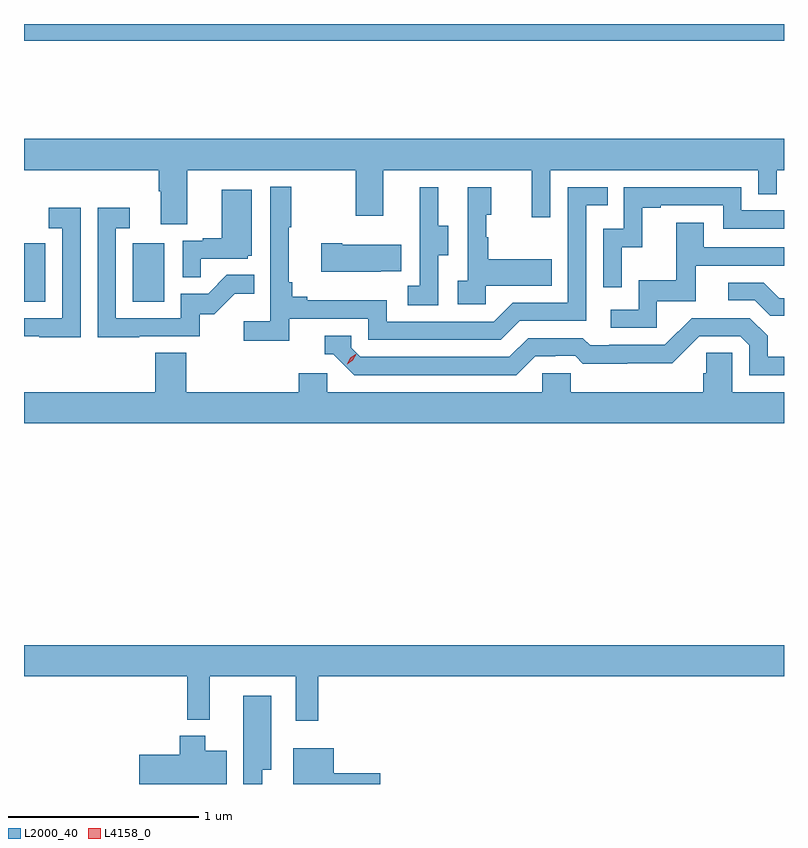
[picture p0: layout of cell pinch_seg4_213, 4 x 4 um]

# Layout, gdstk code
import gdstk
lib = gdstk.Library(unit=1e-6, precision=1e-09)
def R(c, l, rs):  # rectangles x0, y0, x1, y1
    for r in rs: c.add(gdstk.rectangle(r[:2], r[2:], *l))
def P(c, l, *ps):  # polygons
    for p in ps: c.add(gdstk.Polygon(p, *l))
L2000_40 = (2000, 40)
L4158_0 = (4158, 0)

pinch_seg4_213 = lib.new_cell('pinch_seg4_213')
R(pinch_seg4_213, L2000_40, [(986.591,826.764,986.704,827.071), (987.164,826.764,987.328,827.071), (986.591,828.136,990.591,828.225)])
P(pinch_seg4_213, L2000_40, [(987.451,827.456),(988.336,827.456),(988.336,827.217),(988.483,827.217),(988.483,827.456),(989.264,827.456),(989.264,827.208),(989.361,827.208),(989.361,827.456),(990.456,827.456),(990.456,827.329),(990.552,827.329),(990.552,827.456),(990.591,827.456),(990.591,827.62),(986.591,827.62),(986.591,827.456),(987.299,827.456),(987.299,827.344),(987.311,827.344),(987.311,827.17),(987.451,827.17)],
  [(987.986,826.674),(988.404,826.674),(988.404,826.563),(989.101,826.563),(989.2,826.662),(989.55,826.662),(989.55,827.271),(989.663,827.271),(989.663,827.367),(989.454,827.367),(989.454,826.758),(989.163,826.758),(989.064,826.659),(988.5,826.659),(988.5,826.771),(988.081,826.771),(988.081,826.79),(988.004,826.79),(988.004,826.867),(987.985,826.867),(987.985,827.155),(987.997,827.155),(987.997,827.368),(987.888,827.368),(987.888,826.66),(987.747,826.66),(987.747,826.558),(987.986,826.558)],
  [(989.736,827.051),(989.846,827.051),(989.846,827.259),(989.941,827.259),(989.941,827.271),(990.27,827.271),(990.27,827.148),(990.591,827.148),(990.591,827.244),(990.366,827.244),(990.366,827.367),(989.748,827.367),(989.748,827.148),(989.64,827.148),(989.64,826.839),(989.736,826.839)],
  [(989.022,826.847),(989.369,826.847),(989.369,826.987),(989.035,826.987),(989.035,827.102),(989.025,827.102),(989.025,827.22),(989.05,827.22),(989.05,827.365),(988.926,827.365),(988.926,826.874),(988.875,826.874),(988.875,826.749),(989.022,826.749)],
  [(988.77,827.008),(988.825,827.008),(988.825,827.163),(988.771,827.163),(988.771,827.365),(988.673,827.365),(988.673,827.151),(988.674,827.151),(988.674,826.847),(988.611,826.847),(988.611,826.744),(988.77,826.744)],
  [(987.521,826.989),(987.768,826.989),(987.768,827.004),(987.79,827.004),(987.79,827.353),(987.632,827.353),(987.632,827.098),(987.533,827.098),(987.533,827.085),(987.426,827.085),(987.426,826.891),(987.521,826.891)],
  [(987.197,826.581),(987.516,826.581),(987.516,826.698),(987.592,826.698),(987.699,826.805),(987.803,826.805),(987.803,826.904),(987.659,826.904),(987.561,826.806),(987.417,826.806),(987.417,826.677),(987.075,826.677),(987.075,827.151),(987.148,827.151),(987.148,827.257),(986.979,827.257),(986.979,826.576),(987.197,826.576)],
  [(986.889,827.257),(986.721,827.257),(986.721,827.151),(986.793,827.151),(986.793,826.677),(986.591,826.677),(986.591,826.581),(986.671,826.581),(986.671,826.576),(986.889,826.576)],
  [(989.922,826.767),(990.127,826.767),(990.127,826.953),(990.591,826.953),(990.591,827.049),(990.169,827.049),(990.169,827.179),(990.025,827.179),(990.025,826.876),(989.826,826.876),(989.826,826.722),(989.679,826.722),(989.679,826.626),(989.922,826.626)],
  [(988.469,826.925),(988.577,826.925),(988.577,827.062),(988.267,827.062),(988.267,827.07),(988.155,827.07),(988.155,826.922),(988.469,826.922)],
  [(990.591,826.782),(990.565,826.782),(990.484,826.863),(990.297,826.863),(990.297,826.77),(990.438,826.77),(990.518,826.69),(990.591,826.69)],
  [(989.281,826.476),(989.388,826.476),(989.388,826.479),(989.491,826.479),(989.533,826.437),(989.766,826.437),(989.766,826.439),(990.002,826.439),(990.144,826.581),(990.36,826.581),(990.408,826.533),(990.408,826.377),(990.591,826.377),(990.591,826.473),(990.505,826.473),(990.505,826.583),(990.411,826.677),(990.105,826.677),(989.964,826.536),(989.671,826.536),(989.671,826.533),(989.572,826.533),(989.533,826.572),(989.244,826.572),(989.145,826.473),(988.362,826.473),(988.314,826.521),(988.314,826.584),(988.175,826.584),(988.175,826.488),(988.218,826.488),(988.329,826.377),(989.182,826.377)],
  [(990.591,826.288),(990.318,826.288),(990.318,826.496),(990.181,826.496),(990.181,826.386),(990.167,826.386),(990.167,826.288),(989.469,826.288),(989.469,826.386),(989.319,826.386),(989.319,826.288),(988.188,826.288),(988.188,826.386),(988.037,826.386),(988.037,826.288),(987.446,826.288),(987.446,826.496),(987.281,826.496),(987.281,826.288),(986.591,826.288),(986.591,826.124),(990.591,826.124)],
  [(988.139,824.792),(990.591,824.792),(990.591,824.956),(986.591,824.956),(986.591,824.792),(987.451,824.792),(987.451,824.564),(987.568,824.564),(987.568,824.792),(988.022,824.792),(988.022,824.559),(988.139,824.559)],
  [(987.844,824.3),(987.892,824.3),(987.892,824.689),(987.746,824.689),(987.746,824.225),(987.844,824.225)],
  [(987.658,824.401),(987.544,824.401),(987.544,824.479),(987.41,824.479),(987.41,824.379),(987.198,824.379),(987.198,824.225),(987.658,824.225)],
  [(988.465,824.282),(988.222,824.282),(988.222,824.413),(988.007,824.413),(988.007,824.225),(988.465,824.225)])
P(pinch_seg4_213, L4158_0, [(988.291,826.435),(988.291,826.435),(988.307,826.468),(988.338,826.486),(988.339,826.486),(988.339,826.486),(988.322,826.454),(988.291,826.435)])

lib.write_gds('pinch_seg4_213.gds')
